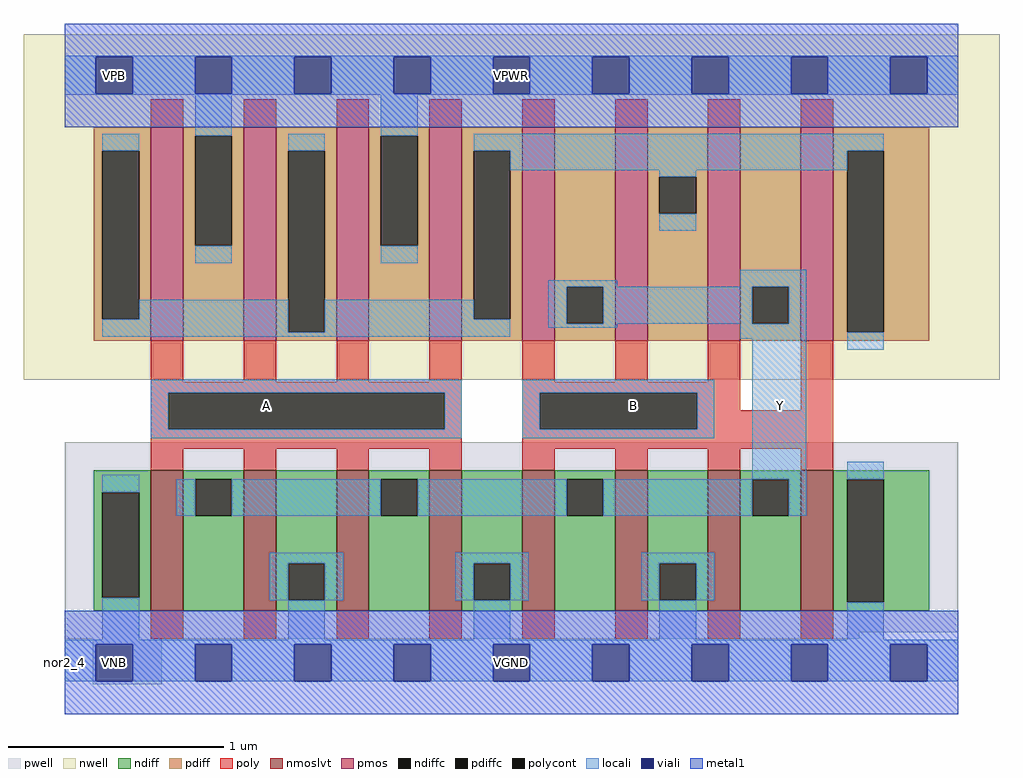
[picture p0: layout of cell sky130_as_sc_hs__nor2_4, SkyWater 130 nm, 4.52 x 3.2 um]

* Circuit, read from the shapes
.subckt sky130_as_sc_hs__nor2_4 VNB VPB VPWR VGND A B Y
XM1 Y A VGND VNB sky130_fd_pr__nfet_01v8_lvt w=0.65 l=0.15 m=4
XM2 Y B VGND VNB sky130_fd_pr__nfet_01v8_lvt w=0.65 l=0.15 m=4
XM3 VPWR A n1 VPB sky130_fd_pr__pfet_01v8 w=0.99 l=0.15 m=4
XM4 Y B n1 VPB sky130_fd_pr__pfet_01v8 w=0.99 l=0.15 m=4
.ends

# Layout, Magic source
magic
tech sky130A
magscale 1 2
<< nwell >>
rect -38 262 866 582
<< pwell >>
rect 0 28 828 204
rect 0 22 736 28
rect 26 -20 90 22
<< pmos >>
rect 80 298 110 496
rect 166 298 196 496
rect 252 298 282 496
rect 338 298 368 496
rect 424 298 454 496
rect 510 298 540 496
rect 596 298 626 496
rect 682 298 712 496
<< nmoslvt >>
rect 80 48 110 178
rect 166 48 196 178
rect 252 48 282 178
rect 338 48 368 178
rect 424 48 454 178
rect 510 48 540 178
rect 596 48 626 178
rect 682 48 712 178
<< ndiff >>
rect 27 158 80 178
rect 27 60 35 158
rect 69 60 80 158
rect 27 48 80 60
rect 110 170 166 178
rect 110 136 121 170
rect 155 136 166 170
rect 110 48 166 136
rect 196 92 252 178
rect 196 58 207 92
rect 241 58 252 92
rect 196 48 252 58
rect 282 170 338 178
rect 282 136 293 170
rect 327 136 338 170
rect 282 48 338 136
rect 368 92 424 178
rect 368 58 379 92
rect 413 58 424 92
rect 368 48 424 58
rect 454 170 510 178
rect 454 136 465 170
rect 499 136 510 170
rect 454 48 510 136
rect 540 92 596 178
rect 540 58 551 92
rect 585 58 596 92
rect 540 48 596 58
rect 626 170 682 178
rect 626 136 637 170
rect 671 136 682 170
rect 626 48 682 136
rect 712 170 801 178
rect 712 56 725 170
rect 759 56 801 170
rect 712 48 801 56
<< pdiff >>
rect 27 474 80 496
rect 27 318 35 474
rect 69 318 80 474
rect 27 298 80 318
rect 110 488 166 496
rect 110 386 121 488
rect 155 386 166 488
rect 110 298 166 386
rect 196 474 252 496
rect 196 306 207 474
rect 241 306 252 474
rect 196 298 252 306
rect 282 488 338 496
rect 282 386 293 488
rect 327 386 338 488
rect 282 298 338 386
rect 368 474 424 496
rect 368 318 379 474
rect 413 318 424 474
rect 368 298 424 318
rect 454 348 510 496
rect 454 314 465 348
rect 499 314 510 348
rect 454 298 510 314
rect 540 450 596 496
rect 540 416 551 450
rect 585 416 596 450
rect 540 298 596 416
rect 626 348 682 496
rect 626 314 637 348
rect 671 314 682 348
rect 626 298 682 314
rect 712 474 801 496
rect 712 306 725 474
rect 759 306 801 474
rect 712 298 801 306
<< ndiffc >>
rect 35 60 69 158
rect 121 136 155 170
rect 207 58 241 92
rect 293 136 327 170
rect 379 58 413 92
rect 465 136 499 170
rect 551 58 585 92
rect 637 136 671 170
rect 725 56 759 170
<< pdiffc >>
rect 35 318 69 474
rect 121 386 155 488
rect 207 306 241 474
rect 293 386 327 488
rect 379 318 413 474
rect 465 314 499 348
rect 551 416 585 450
rect 637 314 671 348
rect 725 306 759 474
<< poly >>
rect 80 496 110 522
rect 166 496 196 522
rect 252 496 282 522
rect 338 496 368 522
rect 424 496 454 522
rect 510 496 540 522
rect 596 496 626 522
rect 682 496 712 522
rect 80 260 110 298
rect 166 260 196 298
rect 252 260 282 298
rect 338 260 368 298
rect 80 250 368 260
rect 80 216 96 250
rect 352 216 368 250
rect 80 198 368 216
rect 80 178 110 198
rect 166 178 196 198
rect 252 178 282 198
rect 338 178 368 198
rect 424 260 454 298
rect 510 260 540 298
rect 596 260 626 298
rect 424 250 626 260
rect 424 216 440 250
rect 586 234 626 250
rect 682 234 712 298
rect 586 216 712 234
rect 424 198 712 216
rect 424 178 454 198
rect 510 178 540 198
rect 596 178 626 198
rect 682 178 712 198
rect 80 22 110 48
rect 166 22 196 48
rect 252 22 282 48
rect 338 22 368 48
rect 424 22 454 48
rect 510 22 540 48
rect 596 22 626 48
rect 682 22 712 48
<< polycont >>
rect 96 216 352 250
rect 440 216 586 250
<< locali >>
rect 0 561 828 562
rect 0 527 29 561
rect 63 527 121 561
rect 155 527 213 561
rect 247 527 305 561
rect 339 527 397 561
rect 431 527 489 561
rect 523 527 581 561
rect 615 527 673 561
rect 707 527 765 561
rect 799 527 828 561
rect 0 526 828 527
rect 35 474 69 490
rect 121 488 155 526
rect 121 370 155 386
rect 207 474 241 490
rect 69 318 207 336
rect 35 306 207 318
rect 293 488 327 526
rect 293 370 327 386
rect 379 474 759 490
rect 241 318 379 336
rect 413 456 725 474
rect 551 450 585 456
rect 551 400 585 416
rect 241 306 413 318
rect 448 348 512 354
rect 626 348 687 364
rect 448 314 465 348
rect 499 314 637 348
rect 671 314 687 348
rect 448 310 512 314
rect 35 302 413 306
rect 626 300 687 314
rect 80 250 368 262
rect 80 216 96 250
rect 352 216 368 250
rect 80 208 368 216
rect 424 250 602 262
rect 424 216 440 250
rect 586 216 602 250
rect 424 208 602 216
rect 35 158 69 174
rect 637 170 687 300
rect 725 290 759 306
rect 104 136 121 170
rect 155 136 293 170
rect 327 136 465 170
rect 499 136 637 170
rect 671 136 687 170
rect 725 170 759 186
rect 35 21 69 60
rect 190 92 258 102
rect 190 58 207 92
rect 241 58 258 92
rect 362 92 430 102
rect 362 58 379 92
rect 413 58 430 92
rect 534 92 602 102
rect 534 58 551 92
rect 585 58 602 92
rect 207 21 241 58
rect 379 21 413 58
rect 551 21 585 58
rect 725 21 759 56
rect 0 17 828 21
rect 0 -17 29 17
rect 63 -17 121 17
rect 155 -17 213 17
rect 247 -17 305 17
rect 339 -17 397 17
rect 431 -17 489 17
rect 523 -17 581 17
rect 615 -17 673 17
rect 707 -17 765 17
rect 799 -17 828 17
<< viali >>
rect 29 527 63 561
rect 121 527 155 561
rect 213 527 247 561
rect 305 527 339 561
rect 397 527 431 561
rect 489 527 523 561
rect 581 527 615 561
rect 673 527 707 561
rect 765 527 799 561
rect 29 -17 63 17
rect 121 -17 155 17
rect 213 -17 247 17
rect 305 -17 339 17
rect 397 -17 431 17
rect 489 -17 523 17
rect 581 -17 615 17
rect 673 -17 707 17
rect 765 -17 799 17
<< metal1 >>
rect 0 561 828 592
rect 0 527 29 561
rect 63 527 121 561
rect 155 527 213 561
rect 247 527 305 561
rect 339 527 397 561
rect 431 527 489 561
rect 523 527 581 561
rect 615 527 673 561
rect 707 527 765 561
rect 799 527 828 561
rect 0 496 828 527
rect 0 17 828 48
rect 0 -17 29 17
rect 63 -17 121 17
rect 155 -17 213 17
rect 247 -17 305 17
rect 339 -17 397 17
rect 431 -17 489 17
rect 523 -17 581 17
rect 615 -17 673 17
rect 707 -17 765 17
rect 799 -17 828 17
rect 0 -48 828 -17
<< labels >>
rlabel comment s 0 0 0 0 4 nor2_4
flabel pwell s 29 -17 63 17 0 FreeSans 200 0 0 0 VNB
port 1 nsew ground bidirectional
flabel pwell s 46 0 46 0 0 FreeSans 200 0 0 0 VNB
flabel nwell s 29 527 63 561 0 FreeSans 200 0 0 0 VPB
port 2 nsew power bidirectional
flabel nwell s 46 544 46 544 0 FreeSans 200 0 0 0 VPB
flabel metal1 s 29 527 63 561 0 FreeSans 200 0 0 0 VPWR
port 3 nsew power bidirectional abutment
flabel metal1 s 29 -17 63 17 0 FreeSans 200 0 0 0 VGND
port 4 nsew ground bidirectional abutment
rlabel metal1 s 0 -48 828 48 1 VGND
port 4 nsew ground bidirectional abutment
rlabel metal1 s 0 496 828 592 1 VPWR
port 3 nsew power bidirectional abutment
flabel locali s 170 221 204 255 0 FreeSans 200 0 0 0 A
port 5 nsew signal input
flabel locali s 187 238 187 238 0 FreeSans 200 0 0 0 A
flabel locali s 510 221 544 255 0 FreeSans 200 0 0 0 B
port 6 nsew signal input
flabel locali s 527 238 527 238 0 FreeSans 200 0 0 0 B
flabel locali s 646 221 680 255 0 FreeSans 200 0 0 0 Y
port 7 nsew signal output
flabel locali s 663 238 663 238 0 FreeSans 200 0 0 0 Y
<< properties >>
string FIXED_BBOX 0 0 828 544
string GDS_FILE $PDKPATH/libs.ref/sky130_as_sc_hs/gds/sky130_as_sc_hs__nor2_4.gds
string LEFclass CORE
string LEFsite unithd
string LEFsymmetry X Y R90
string MASKHINTS_LVTN 0 -4 828 216
string MASKHINTS_NSDM 0 -38 828 203
string MASKHINTS_PSDM 0 273 828 582
<< end >>
